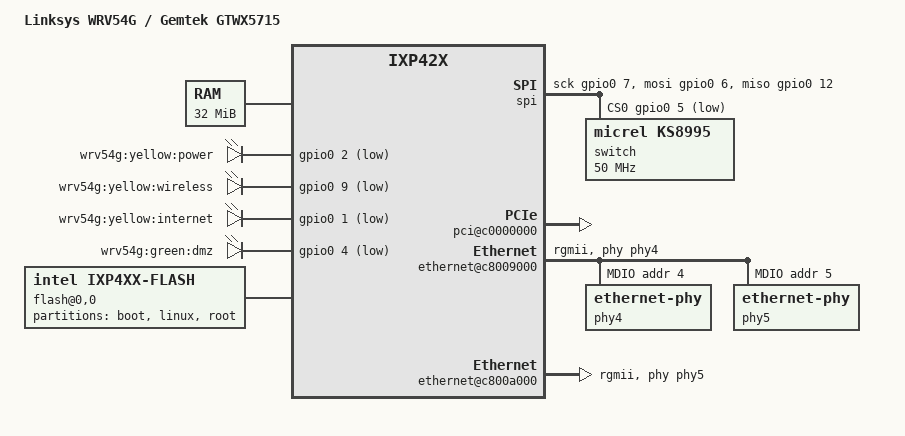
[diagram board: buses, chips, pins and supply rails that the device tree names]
// SPDX-License-Identifier: ISC
/*
 * Device Tree file for the Linksys WRV54G router
 * Also known as Gemtek GTWX5715
 * Based on a board file by George T. Joseph and other patches.
 * This machine is based on IXP425.
 */

/dts-v1/;

#include "intel-ixp42x.dtsi"
#include <dt-bindings/input/input.h>

/ {
	model = "Linksys WRV54G / Gemtek GTWX5715";
	compatible = "linksys,wrv54g", "gemtek,gtwx5715", "intel,ixp42x";
	#address-cells = <1>;
	#size-cells = <1>;

	memory@0 {
		/* 32 MB memory */
		device_type = "memory";
		reg = <0x00000000 0x2000000>;
	};

	chosen {
		bootargs = "console=ttyS0,115200n8";
		stdout-path = "uart1:115200n8";
	};

	aliases {
		/* UART2 is the primary console */
		serial0 = &uart1;
		serial1 = &uart0;
	};

	/* There is an unpopulated LED slot (3) connected to GPIO 8 */
	leds {
		compatible = "gpio-leds";
		led-power {
			label = "wrv54g:yellow:power";
			gpios = <&gpio0 2 GPIO_ACTIVE_LOW>;
			default-state = "on";
			linux,default-trigger = "heartbeat";
		};
		led-wireless {
			label = "wrv54g:yellow:wireless";
			gpios = <&gpio0 9 GPIO_ACTIVE_LOW>;
			default-state = "on";
		};
		led-internet {
			label = "wrv54g:yellow:internet";
			gpios = <&gpio0 1 GPIO_ACTIVE_LOW>;
			default-state = "on";
		};
		led-dmz {
			label = "wrv54g:green:dmz";
			gpios = <&gpio0 4 GPIO_ACTIVE_LOW>;
			default-state = "on";
		};
	};

	/* This set-up comes from an OpenWrt patch */
	spi {
		compatible = "spi-gpio";
		#address-cells = <1>;
		#size-cells = <0>;

		sck-gpios = <&gpio0 7 GPIO_ACTIVE_HIGH>;
		miso-gpios = <&gpio0 12 GPIO_ACTIVE_HIGH>;
		mosi-gpios = <&gpio0 6 GPIO_ACTIVE_HIGH>;
		cs-gpios = <&gpio0 5 GPIO_ACTIVE_LOW>;
		num-chipselects = <1>;

		switch@0 {
			compatible = "micrel,ks8995";
			reg = <0>;
			spi-max-frequency = <50000000>;
		};
	};

	soc {
		bus@c4000000 {
			flash@0,0 {
				compatible = "intel,ixp4xx-flash", "cfi-flash";
				bank-width = <2>;
				/* Enable writes on the expansion bus */
				intel,ixp4xx-eb-write-enable = <1>;
				/* 8 MB of Flash mapped in at CS0 */
				reg = <0 0x00000000 0x00800000>;

				partitions {
					compatible = "fixed-partitions";
					/*
					 * Partition info from a boot log
					 * CHECKME: not using redboot? FIS index 0x3f @7e00000?
					 */
					#address-cells = <1>;
					#size-cells = <1>;
					partition@0 {
						label = "boot";
						reg = <0x0 0x140000>;
						read-only;
					};
					partition@140000 {
						label = "linux";
						reg = <0x140000 0x100000>;
						read-only;
					};
					partition@240000 {
						label = "root";
						reg = <0x240000 0x480000>;
						read-write;
					};
				};
			};
		};

		pci@c0000000 {
			status = "ok";

			/*
			 * We have up to 2 slots (IDSEL) with 2 swizzled IRQs.
			 * Derived from the GTWX5715 PCI boardfile.
			 */
			interrupt-map =
			/* IDSEL 0 */
			<0x0000 0 0 1 &gpio0 10 IRQ_TYPE_LEVEL_LOW>, /* INT A on slot 0 is irq 10 */
			<0x0000 0 0 2 &gpio0 11 IRQ_TYPE_LEVEL_LOW>, /* INT B on slot 0 is irq 11 */
			/* IDSEL 1 */
			<0x0800 0 0 1 &gpio0 11 IRQ_TYPE_LEVEL_LOW>, /* INT A on slot 1 is irq 11 */
			<0x0800 0 0 2 &gpio0 10 IRQ_TYPE_LEVEL_LOW>; /* INT B on slot 1 is irq 10 */
		};

		/*
		 * EthB - connected to the KS8995 switch ports 1-4
		 * FIXME: the boardfile defines .phy_mask = 0x1e for this port to enable output to
		 * all four switch ports, also using an out of tree multiphy patch.
		 * Do we need a new binding and property for this?
		 */
		ethernet@c8009000 {
			status = "ok";
			queue-rx = <&qmgr 3>;
			queue-txready = <&qmgr 20>;
			phy-mode = "rgmii";
			phy-handle = <&phy4>;

			mdio {
				#address-cells = <1>;
				#size-cells = <0>;

				/* Should be ports 1-4 on the KS8995 switch */
				phy4: ethernet-phy@4 {
					reg = <4>;
				};

				/* Should be port 5 on the KS8995 switch */
				phy5: ethernet-phy@5 {
					reg = <5>;
				};
			};
		};

		/* EthC - connected to KS8995 switch port 5 */
		ethernet@c800a000 {
			status = "ok";
			queue-rx = <&qmgr 4>;
			queue-txready = <&qmgr 21>;
			phy-mode = "rgmii";
			phy-handle = <&phy5>;
		};
	};
};
